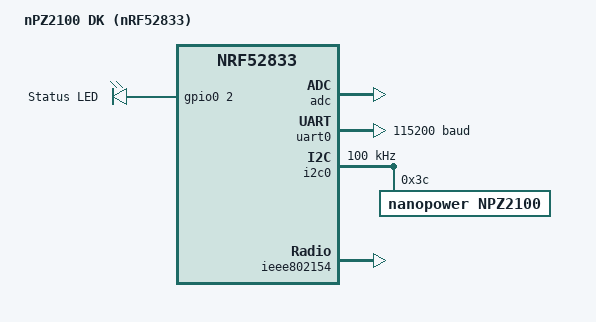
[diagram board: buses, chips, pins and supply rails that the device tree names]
/*
 * Copyright (c) Nanopower Semiconductor AS
 * SPDX-License-Identifier: Apache-2.0
 *
 * nPZ2100 DK rev 1V0: Fanstel BC833M (nRF52833) host with an nPZ2100
 * that switches the host supply (VDD_HP) on and off.
 */

/dts-v1/;
#include <nordic/nrf52833_qiaa.dtsi>
#include "npz2100dk_nrf52833-pinctrl.dtsi"

/ {
	model = "nPZ2100 DK (nRF52833)";
	compatible = "nanopower,npz2100dk-nrf52833";

	chosen {
		zephyr,console = &uart0;
		zephyr,shell-uart = &uart0;
		zephyr,uart-mcumgr = &uart0;
		zephyr,bt-mon-uart = &uart0;
		zephyr,bt-c2h-uart = &uart0;
		zephyr,sram = &sram0;
		zephyr,flash = &flash0;
		zephyr,code-partition = &slot0_partition;
		zephyr,ieee802154 = &ieee802154;
	};

	leds {
		compatible = "gpio-leds";
		led0: led_0 {
			/* LED1 "STS_LED", driven high through R4 470R */
			gpios = <&gpio0 2 GPIO_ACTIVE_HIGH>;
			label = "Status LED";
		};
	};

	aliases {
		led0 = &led0;
		watchdog0 = &wdt0;
	};
};

/* BC833M has the DCDC inductors on-module (Fanstel product page). */
&reg1 {
	regulator-initial-mode = <NRF5X_REG_MODE_DCDC>;
};

&uicr {
	/* P0.18 is nRESET (SW1 "DFU Reset" and the J8 debug header). */
	gpio-as-nreset;
	/* P0.09 (UART RTS) and P0.10 (I2C SCL) are NFC pins by default. */
	nfct-pins-as-gpios;
};

&adc {
	status = "okay";
};

&gpiote {
	status = "okay";
};

&gpio0 {
	status = "okay";
};

&gpio1 {
	status = "okay";
};

&uart0 {
	compatible = "nordic,nrf-uarte";
	status = "okay";
	current-speed = <115200>;
	pinctrl-0 = <&uart0_default>;
	pinctrl-1 = <&uart0_sleep>;
	pinctrl-names = "default", "sleep";
	/* RTS/CTS are routed; add hw-flow-control; here to use them. */
};

/* The arduino_i2c label lets the npz2100 shield overlay (which the samples
 * always apply) land on this bus too; the DK has no Arduino header.
 */
arduino_i2c: &i2c0 {
	compatible = "nordic,nrf-twim";
	status = "okay";
	/* nPZ2100 maximum rated I2C frequency */
	clock-frequency = <I2C_BITRATE_STANDARD>;
	pinctrl-0 = <&i2c0_default>;
	pinctrl-1 = <&i2c0_sleep>;
	pinctrl-names = "default", "sleep";

	npz2100: npz2100@3c {
		compatible = "nanopower,npz2100";
		reg = <0x3c>;
	};

	/* AS6214 temperature sensor at 0x48 (connect with J12/J13) can be
	 * added here once a driver binding is chosen.
	 */
};

&ieee802154 {
	status = "okay";
};

&flash0 {
	partitions {
		compatible = "fixed-partitions";
		#address-cells = <1>;
		#size-cells = <1>;

		boot_partition: partition@0 {
			label = "mcuboot";
			reg = <0x00000000 0x0000c000>;
		};
		slot0_partition: partition@c000 {
			label = "image-0";
			reg = <0x0000c000 0x00037000>;
		};
		slot1_partition: partition@43000 {
			label = "image-1";
			reg = <0x00043000 0x00037000>;
		};
		storage_partition: partition@7a000 {
			label = "storage";
			reg = <0x0007a000 0x00006000>;
		};
	};
};
